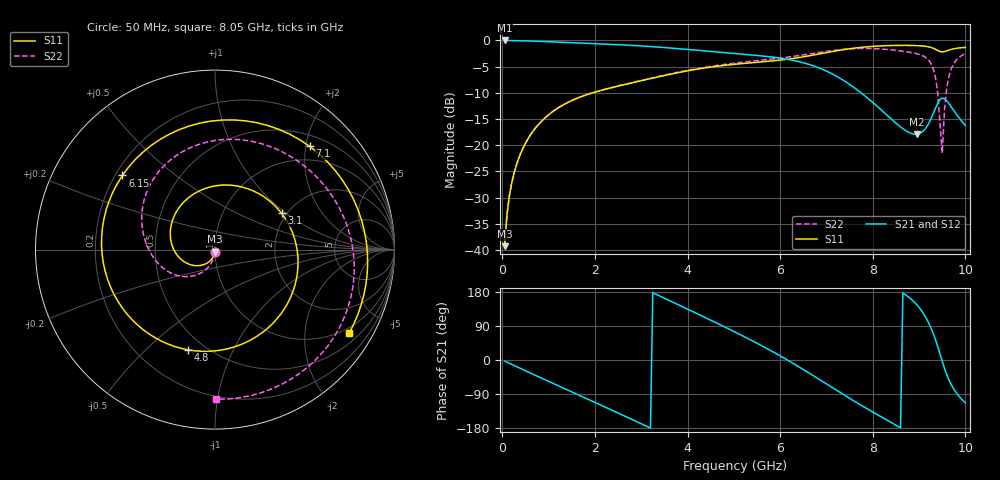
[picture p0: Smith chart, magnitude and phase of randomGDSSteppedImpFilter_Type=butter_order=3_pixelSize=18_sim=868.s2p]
! freq	dB(S11)	phase(S11)	dB(S12)	phase(S12)
!  dB(S21)	phase(S21)	dB(S22)	phase(S22)
!S-par simulation data
#  GHz  S  DB  R 50
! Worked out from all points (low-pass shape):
!   200 points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, 50 MHz to 10 GHz, reference 50 ohm
!   highest |S21| = -0.01 dB at 50 MHz (marker M1); lowest = -17.9 dB at 8.95 GHz (marker M2)
!   |S21| within 3 dB of the highest: start of sweep to 5.653 GHz
!   lowest |S11| = -39.3 dB at 50 MHz (marker M3), VSWR 1.02, Z = 49.9 - j1.08 ohm
!   |S11| at or under -10 dB: start of sweep to 1.95 GHz
!   |S22| runs from -39.3 to -1.5 dB; largest |S21 - S12| = 0
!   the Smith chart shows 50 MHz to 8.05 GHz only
!   S11 on the Smith chart (normalised r, x): 50 MHz: 1.00, -0.02; 3.1 GHz: 1.88, +0.93; 4.8 GHz: 0.41, -0.68; 6.15 GHz: 0.23, +0.33; 7.1 GHz: 0.71, +2.08; 8.05 GHz: 0.81, -3.33
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0.05  -39.28 -93.0  -0.01 -2.9  -0.01 -2.9  -39.26 -91.4
0.2  -27.38 -104.5  -0.03 -11.4  -0.03 -11.4  -27.36 -98.3
0.5  -19.64 -126.7  -0.09 -28.4  -0.09 -28.4  -19.62 -111.0
1.75  -10.59 139.7  -0.52 -98.0  -0.52 -98.0  -10.58 -157.1
3.1  -7.48 28.6  -1.11 -173.8  -1.11 -173.8  -7.43 162.7
3.4  -6.89 3.7  -1.29 169.0  -1.29 169.0  -6.82 153.3
4  -5.80 -44.1  -1.72 134.3  -1.72 134.3  -5.70 132.2
4.8  -4.76 -105.1  -2.33 87.4  -2.33 87.4  -4.57 99.8
5.05  -4.53 -124.3  -2.52 72.4  -2.52 72.4  -4.30 89.0
5.65  -4.06 -173.2  -3.00 34.6  -3.00 34.6  -3.73 61.9
6.15  -3.60 141.3  -3.59 0.5  -3.59 0.5  -3.21 37.9
6.7  -2.82 86.9  -4.79 -40.2  -4.79 -40.2  -2.49 8.6
7.1  -2.15 47.5  -6.28 -70.9  -6.28 -70.9  -1.97 -16.0
7.55  -1.52 6.9  -8.70 -104.9  -8.70 -104.9  -1.60 -47.9
8.05  -1.11 -31.8  -12.22 -140.8  -12.22 -140.8  -1.58 -89.7
8.35  -0.99 -51.9  -14.61 -161.4  -14.61 -161.4  -1.76 -119.3
8.95  -0.99 -87.8  -17.91 146.1  -17.91 146.1  -2.54 163.2
9.25  -1.32 -105.1  -15.10 86.5  -15.10 86.5  -4.29 101.9
9.4  -1.91 -112.3  -12.03 36.5  -12.03 36.5  -9.77 47.5
9.5  -2.20 -113.8  -11.01 -3.6  -11.01 -3.6  -21.50 -93.7
9.65  -1.83 -117.5  -12.12 -53.9  -12.12 -53.9  -6.65 158.3
10  -1.35 -135.3  -16.27 -113.3  -16.27 -113.3  -2.51 88.1
